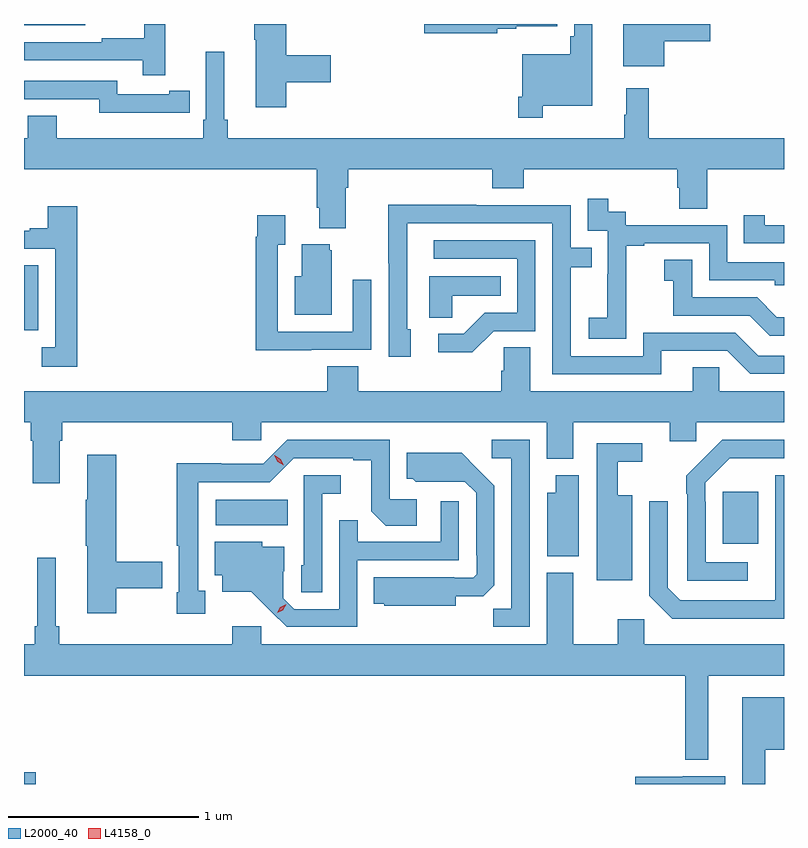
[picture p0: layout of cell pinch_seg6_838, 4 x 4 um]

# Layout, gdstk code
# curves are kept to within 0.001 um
import gdstk
lib = gdstk.Library(unit=1e-6, precision=1e-09)
def R(c, l, rs):  # rectangles x0, y0, x1, y1
    for r in rs: c.add(gdstk.rectangle(r[:2], r[2:], *l))
def P(c, l, *ps):  # polygons
    for p in ps: c.add(gdstk.Polygon(p, *l))
L2000_40 = (2000, 40)
L4158_0 = (4158, 0)

pinch_seg6_838 = lib.new_cell('pinch_seg6_838')
R(pinch_seg6_838, L2000_40, [(157.236,916.129,157.297,916.19), (160.913,917.393,161.101,917.668), (158.244,917.492,158.624,917.626), (157.236,918.517,157.312,918.86), (157.236,920.123,157.558,920.129)])
P(pinch_seg6_838, L2000_40, [(157.979,920.129),(157.869,920.129),(157.869,920.054),(157.645,920.054),(157.645,920.034),(157.236,920.034),(157.236,919.938),(157.861,919.938),(157.861,919.86),(157.979,919.86)],
  [(159.726,920.105),(159.826,920.105),(159.826,920.117),(160.042,920.117),(160.042,920.129),(159.342,920.129),(159.342,920.081),(159.726,920.081)],
  [(158.615,919.822),(158.851,919.822),(158.851,919.964),(158.615,919.964),(158.615,920.129),(158.449,920.129),(158.449,920.047),(158.456,920.047),(158.456,919.692),(158.615,919.692)],
  [(159.967,919.7),(160.228,919.7),(160.228,920.129),(160.131,920.129),(160.131,920.065),(160.111,920.065),(160.111,919.969),(159.858,919.969),(159.858,919.747),(159.838,919.747),(159.838,919.635),(159.967,919.635)],
  [(160.606,920.039),(160.849,920.039),(160.849,920.129),(160.391,920.129),(160.391,919.907),(160.606,919.907)],
  [(158.929,919.268),(158.942,919.268),(158.942,919.364),(159.701,919.364),(159.701,919.265),(159.866,919.265),(159.866,919.364),(160.673,919.364),(160.673,919.266),(160.685,919.266),(160.685,919.156),(160.833,919.156),(160.833,919.364),(161.236,919.364),(161.236,919.528),(160.523,919.528),(160.523,919.792),(160.406,919.792),(160.406,919.652),(160.395,919.652),(160.395,919.528),(158.309,919.528),(158.309,919.624),(158.29,919.624),(158.29,919.984),(158.193,919.984),(158.193,919.624),(158.18,919.624),(158.18,919.528),(157.408,919.528),(157.408,919.645),(157.256,919.645),(157.256,919.528),(157.236,919.528),(157.236,919.364),(158.777,919.364),(158.777,919.162),(158.789,919.162),(158.789,919.055),(158.929,919.055)],
  [(158,919.662),(158.108,919.662),(158.108,919.778),(158,919.778),(158,919.758),(157.728,919.758),(157.728,919.83),(157.236,919.83),(157.236,919.734),(157.632,919.734),(157.632,919.661),(158,919.661)],
  [(160.407,918.679),(160.406,918.679),(160.406,918.963),(160.501,918.963),(160.501,918.975),(160.842,918.975),(160.842,918.78),(161.187,918.78),(161.187,918.753),(161.236,918.753),(161.236,918.876),(160.938,918.876),(160.938,919.071),(160.404,919.071),(160.404,919.14),(160.312,919.14),(160.312,919.21),(160.203,919.21),(160.203,919.041),(160.308,919.041),(160.308,918.812),(160.307,918.812),(160.307,918.583),(160.209,918.583),(160.209,918.473),(160.407,918.473)],
  [(160.591,918.408),(160.938,918.408),(161.058,918.288),(161.236,918.288),(161.236,918.384),(161.1,918.384),(160.98,918.504),(160.494,918.504),(160.494,918.381),(160.113,918.381),(160.113,918.85),(160.223,918.85),(160.223,918.951),(160.113,918.951),(160.113,919.176),(159.617,919.176),(159.617,919.178),(159.154,919.178),(159.154,918.871),(159.156,918.871),(159.156,918.378),(159.271,918.378),(159.271,918.522),(159.252,918.522),(159.252,919.08),(160.017,919.08),(160.017,918.285),(160.591,918.285)],
  [(157.517,919.171),(157.361,919.171),(157.361,919.054),(157.265,919.054),(157.265,919.041),(157.236,919.041),(157.236,918.945),(157.401,918.945),(157.401,918.429),(157.329,918.429),(157.329,918.324),(157.517,918.324)],
  [(161.236,919.071),(161.134,919.071),(161.134,919.123),(161.023,919.123),(161.023,918.975),(161.236,918.975)],
  [(158.747,918.414),(159.063,918.414),(159.063,918.784),(158.967,918.784),(158.967,918.51),(158.571,918.51),(158.571,918.967),(158.611,918.967),(158.611,919.123),(158.463,919.123),(158.463,919.01),(158.455,919.01),(158.455,918.413),(158.747,918.413)],
  [(159.708,918.513),(159.927,918.513),(159.927,918.99),(159.393,918.99),(159.393,918.894),(159.831,918.894),(159.831,918.609),(159.662,918.609),(159.551,918.498),(159.417,918.498),(159.417,918.401),(159.595,918.401)],
  [(158.857,918.939),(158.846,918.939),(158.846,918.97),(158.699,918.97),(158.699,918.802),(158.66,918.802),(158.66,918.599),(158.857,918.599)],
  [(161.236,918.586),(161.198,918.586),(161.094,918.69),(160.752,918.69),(160.752,918.889),(160.605,918.889),(160.605,918.779),(160.654,918.779),(160.654,918.594),(161.057,918.594),(161.162,918.489),(161.236,918.489)],
  [(159.489,918.698),(159.746,918.698),(159.746,918.802),(159.368,918.802),(159.368,918.583),(159.489,918.583)],
  [(157.423,917.936),(157.436,917.936),(157.436,918.032),(158.333,918.032),(158.333,917.939),(158.484,917.939),(158.484,918.032),(159.986,918.032),(159.986,917.84),(160.126,917.84),(160.126,918.032),(160.634,918.032),(160.634,917.934),(160.773,917.934),(160.773,918.032),(161.236,918.032),(161.236,918.196),(160.896,918.196),(160.896,918.323),(160.757,918.323),(160.757,918.196),(159.901,918.196),(159.901,918.428),(159.762,918.428),(159.762,918.305),(159.749,918.305),(159.749,918.196),(158.996,918.196),(158.996,918.329),(158.831,918.329),(158.831,918.196),(157.236,918.196),(157.236,918.032),(157.271,918.032),(157.271,917.936),(157.283,917.936),(157.283,917.712),(157.423,917.712)],
  [(158.191,917.145),(158.152,917.145),(158.152,917.718),(158.529,917.718),(158.655,917.844),(158.969,917.844),(158.969,917.832),(159.063,917.832),(159.063,917.564),(159.139,917.488),(159.304,917.488),(159.304,917.628),(159.162,917.628),(159.162,917.94),(158.622,917.94),(158.496,917.814),(158.274,917.814),(158.274,917.816),(158.041,917.816),(158.041,917.383),(158.051,917.383),(158.051,917.137),(158.041,917.137),(158.041,917.025),(158.191,917.025)],
  [(161.044,917.295),(160.824,917.295),(160.824,917.615),(160.821,917.615),(160.821,917.715),(160.95,917.844),(161.236,917.844),(161.236,917.94),(160.91,917.94),(160.819,917.849),(160.818,917.85),(160.721,917.752),(160.721,917.657),(160.728,917.657),(160.728,917.199),(161.044,917.199)],
  [(159.897,917.94),(159.699,917.94),(159.699,917.844),(159.801,917.844),(159.801,917.051),(159.706,917.051),(159.706,916.956),(159.897,916.956)],
  [(160.438,917.65),(160.36,917.65),(160.36,917.825),(160.489,917.825),(160.489,917.922),(160.251,917.922),(160.251,917.546),(160.25,917.546),(160.25,917.201),(160.438,917.201)],
  [(159.508,917.117),(159.652,917.117),(159.711,917.176),(159.711,917.698),(159.539,917.872),(159.251,917.872),(159.251,917.736),(159.282,917.736),(159.298,917.72),(159.555,917.721),(159.615,917.661),(159.615,917.332),(159.618,917.332),(159.618,917.232),(159.6,917.214),(159.5,917.214),(159.5,917.218),(159.076,917.218),(159.076,917.078),(159.132,917.078),(159.132,917.066),(159.508,917.066)],
  [(157.722,917.158),(157.963,917.158),(157.963,917.3),(157.722,917.3),(157.722,917.863),(157.568,917.863),(157.568,917.624),(157.561,917.624),(157.561,917.383),(157.568,917.383),(157.568,917.028),(157.722,917.028)],
  [(160.156,917.755),(160.034,917.755),(160.034,917.662),(159.989,917.662),(159.989,917.327),(160.156,917.327)],
  [(158.805,917.657),(158.902,917.657),(158.902,917.754),(158.709,917.754),(158.709,917.28),(158.694,917.28),(158.694,917.137),(158.805,917.137)],
  [(161.236,917.754),(161.19,917.754),(161.19,917.297),(161.189,917.297),(161.189,917.097),(160.689,917.097),(160.623,917.163),(160.623,917.617),(160.527,917.617),(160.527,917.121),(160.648,917),(161.236,917)],
  [(158.991,917.307),(159.525,917.307),(159.525,917.617),(159.429,917.617),(159.429,917.403),(158.993,917.403),(158.993,917.516),(158.895,917.516),(158.895,917.049),(158.658,917.049),(158.601,917.106),(158.601,917.248),(158.605,917.248),(158.605,917.377),(158.49,917.377),(158.49,917.404),(158.24,917.404),(158.24,917.228),(158.279,917.228),(158.279,917.141),(158.431,917.141),(158.618,916.956),(158.991,916.956)],
  [(160.837,916.7),(161.236,916.7),(161.236,916.864),(160.5,916.864),(160.5,916.996),(160.361,916.996),(160.361,916.864),(160.126,916.864),(160.126,917.242),(159.986,917.242),(159.986,916.864),(158.484,916.864),(158.484,916.96),(158.333,916.96),(158.333,916.864),(157.421,916.864),(157.421,916.96),(157.402,916.96),(157.402,917.32),(157.305,917.32),(157.305,916.96),(157.292,916.96),(157.292,916.864),(157.236,916.864),(157.236,916.7),(160.716,916.7),(160.716,916.256),(160.837,916.256)],
  [(161.137,916.31),(161.236,916.31),(161.236,916.585),(161.015,916.585),(161.015,916.129),(161.137,916.129)],
  [(160.927,916.171),(160.704,916.171),(160.704,916.166),(160.452,916.166),(160.452,916.129),(160.927,916.129)])
P(pinch_seg6_838, L4158_0, [(158.604,917.806),(158.572,917.825),(158.554,917.858),(158.554,917.858),(158.555,917.858),(158.586,917.839),(158.604,917.807),(158.604,917.806)],
  [(158.568,917.03),(158.568,917.03),(158.585,917.059),(158.616,917.074),(158.617,917.074),(158.617,917.074),(158.599,917.044),(158.568,917.03)])

lib.write_gds('pinch_seg6_838.gds')
